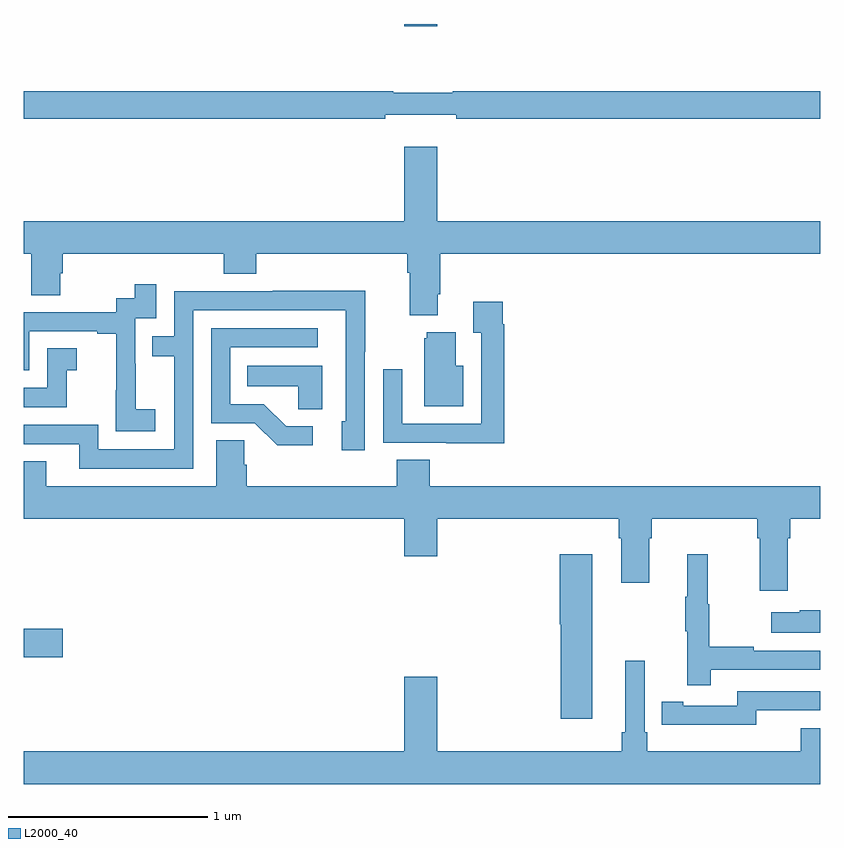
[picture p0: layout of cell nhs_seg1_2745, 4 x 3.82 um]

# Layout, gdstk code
import gdstk
lib = gdstk.Library(unit=1e-6, precision=1e-09)
def R(c, l, rs):  # rectangles x0, y0, x1, y1
    for r in rs: c.add(gdstk.rectangle(r[:2], r[2:], *l))
def P(c, l, *ps):  # polygons
    for p in ps: c.add(gdstk.Polygon(p, *l))
L2000_40 = (2000, 40)

nhs_seg1_2745 = lib.new_cell('nhs_seg1_2745')
R(nhs_seg1_2745, L2000_40, [(259,571.018,259.195,571.16), (260.912,574.188,261.076,574.199)])
P(nhs_seg1_2745, L2000_40, [(260.816,573.743),(261.172,573.743),(261.172,573.724),(263,573.724),(263,573.86),(261.155,573.86),(261.155,573.853),(260.855,573.853),(260.855,573.86),(259,573.86),(259,573.724),(260.816,573.724)],
  [(261.079,572.842),(261.092,572.842),(261.092,573.044),(263,573.044),(263,573.208),(261.076,573.208),(261.076,573.583),(260.912,573.583),(260.912,573.208),(259,573.208),(259,573.044),(259.036,573.044),(259.036,572.836),(259.183,572.836),(259.183,572.946),(259.196,572.946),(259.196,573.044),(260.003,573.044),(260.003,572.945),(260.168,572.945),(260.168,573.044),(260.927,573.044),(260.927,572.948),(260.939,572.948),(260.939,572.735),(261.079,572.735)],
  [(259.66,572.263),(259.562,572.263),(259.562,572.492),(259.56,572.492),(259.56,572.721),(259.665,572.721),(259.665,572.89),(259.557,572.89),(259.557,572.82),(259.464,572.82),(259.464,572.751),(259,572.751),(259,572.46),(259.026,572.46),(259.026,572.655),(259.367,572.655),(259.367,572.643),(259.463,572.643),(259.463,572.359),(259.462,572.359),(259.462,572.153),(259.66,572.153)],
  [(259.851,572.76),(260.616,572.76),(260.616,572.202),(260.597,572.202),(260.597,572.058),(260.712,572.058),(260.712,572.551),(260.715,572.551),(260.715,572.858),(260.251,572.858),(260.251,572.856),(259.755,572.856),(259.755,572.631),(259.645,572.631),(259.645,572.53),(259.755,572.53),(259.755,572.061),(259.374,572.061),(259.374,572.184),(259,572.184),(259,572.088),(259.277,572.088),(259.277,571.965),(259.851,571.965)],
  [(261.413,572.69),(261.406,572.69),(261.406,572.803),(261.257,572.803),(261.257,572.647),(261.297,572.647),(261.297,572.19),(260.901,572.19),(260.901,572.464),(260.805,572.464),(260.805,572.094),(261.121,572.094),(261.121,572.093),(261.413,572.093)],
  [(260.452,572.178),(260.317,572.178),(260.206,572.289),(260.037,572.289),(260.037,572.574),(260.476,572.574),(260.476,572.67),(259.941,572.67),(259.941,572.193),(260.16,572.193),(260.273,572.081),(260.452,572.081)],
  [(261.208,572.482),(261.169,572.482),(261.169,572.65),(261.023,572.65),(261.023,572.619),(261.011,572.619),(261.011,572.279),(261.208,572.279)],
  [(259.215,572.459),(259.264,572.459),(259.264,572.569),(259.116,572.569),(259.116,572.37),(259,572.37),(259,572.274),(259.215,572.274)],
  [(260.5,572.482),(260.122,572.482),(260.122,572.378),(260.379,572.378),(260.379,572.263),(260.5,572.263)],
  [(261.038,572.009),(260.873,572.009),(260.873,571.876),(260.12,571.876),(260.12,571.985),(260.106,571.985),(260.106,572.108),(259.967,572.108),(259.967,571.876),(259.111,571.876),(259.111,572.003),(259,572.003),(259,571.712),(260.912,571.712),(260.912,571.524),(261.076,571.524),(261.076,571.712),(261.989,571.712),(261.989,571.616),(262.001,571.616),(262.001,571.392),(262.141,571.392),(262.141,571.616),(262.154,571.616),(262.154,571.712),(262.685,571.712),(262.685,571.616),(262.697,571.616),(262.697,571.35),(262.837,571.35),(262.837,571.616),(262.85,571.616),(262.85,571.712),(263,571.712),(263,571.876),(261.038,571.876)],
  [(262.451,570.954),(263,570.954),(263,571.05),(262.667,571.05),(262.667,571.07),(262.444,571.07),(262.444,571.284),(262.436,571.284),(262.436,571.534),(262.334,571.534),(262.334,571.321),(262.323,571.321),(262.323,571.147),(262.334,571.147),(262.334,570.876),(262.451,570.876)],
  [(261.856,571.534),(261.692,571.534),(261.692,571.182),(261.698,571.182),(261.698,570.708),(261.856,570.708)],
  [(263,571.253),(262.898,571.253),(262.898,571.243),(262.755,571.243),(262.755,571.139),(263,571.139)],
  [(263,570.661),(262.904,570.661),(262.904,570.544),(262.133,570.544),(262.133,570.64),(262.119,570.64),(262.119,571),(262.022,571),(262.022,570.64),(262.003,570.64),(262.003,570.544),(261.076,570.544),(261.076,570.919),(260.912,570.919),(260.912,570.544),(259,570.544),(259,570.38),(263,570.38)],
  [(262.68,570.75),(263,570.75),(263,570.846),(262.584,570.846),(262.584,570.774),(262.312,570.774),(262.312,570.794),(262.204,570.794),(262.204,570.678),(262.312,570.678),(262.312,570.677),(262.68,570.677)])

lib.write_gds('nhs_seg1_2745.gds')
